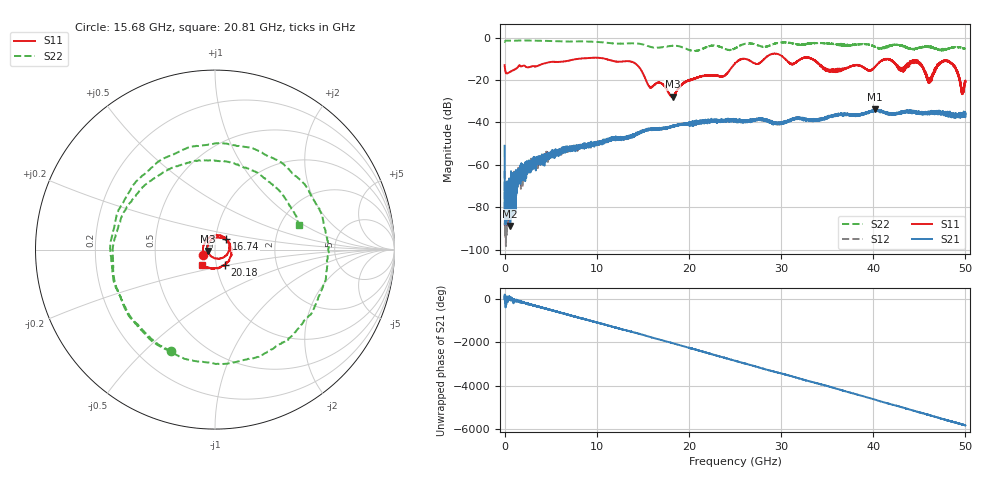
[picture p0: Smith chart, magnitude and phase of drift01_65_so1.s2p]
!Created with skrf (http://scikit-rf.org).
# Hz S RI R 50.0
!freq ReS11 ImS11 ReS21 ImS21 ReS12 ImS12 ReS22 ImS22
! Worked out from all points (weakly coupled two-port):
!   10001 points, 300 kHz to 50 GHz, reference 50 ohm
!   highest |S21| = -33.88 dB at 40.21 GHz (marker M1); lowest = -88.9 dB at 615.3 MHz (marker M2)
!   lowest |S11| = -27.9 dB at 18.26 GHz (marker M3), VSWR 1.08, Z = 46.2 - j0.741 ohm
!   |S11| at or under -10 dB: start of sweep to 8.034 GHz; 10.91 GHz to 25.86 GHz (14.95 GHz wide, 81.3 % of centre); 33.36 GHz to end of sweep (the widest 3 of 13)
!   |S22| runs from -6.4 to -1.4 dB; largest |S21 - S12| = 0.0039
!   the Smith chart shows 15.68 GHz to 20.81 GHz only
!   S11 on the Smith chart (normalised r, x): 15.68 GHz: 0.88, -0.05; 16.74 GHz: 1.12, +0.14; 20.18 GHz: 1.10, -0.19; 20.81 GHz: 0.85, -0.15
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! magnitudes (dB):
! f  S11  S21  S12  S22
! 300 kHz  -13.0  -51.0  -63.1  -2.1
! 255.3 MHz  -16.9  -74.7  -79.4  -1.4
! 615.3 MHz  -16.1  -88.9  -71.3  -1.5
! 3.005 GHz  -13.5  -58.7  -60.4  -1.4
! 8.335 GHz  -9.9  -50.6  -52.1  -1.8
! 13.89 GHz  -11.5  -46.3  -46.8  -2.7
! 15.68 GHz  -23.0  -43.5  -43.1  -4.2
! 16.67 GHz  -21.2  -42.7  -43.1  -4.8
! 16.74 GHz  -21.2  -43.1  -42.8  -4.7
! 18.26 GHz  -27.9  -41.9  -41.6  -3.9
! 20.18 GHz  -20.0  -40.8  -40.9  -6.1
! 20.81 GHz  -18.9  -41.0  -39.9  -6.3
! 25 GHz  -12.2  -39.2  -39.0  -5.0
! 33.34 GHz  -10.1  -39.2  -38.6  -2.7
! 35.14 GHz  -15.8  -37.2  -37.2  -2.7
! 40.21 GHz  -13.8  -33.9  -34.2  -4.3
! 41.67 GHz  -10.1  -35.5  -36.2  -4.2
! 43.08 GHz  -15.4  -35.9  -35.3  -3.8
! 44.81 GHz  -11.1  -35.4  -35.5  -5.0
! 46.1 GHz  -20.4  -35.8  -35.7  -4.4
! 48.04 GHz  -11.3  -35.7  -35.7  -5.1
! 50 GHz  -20.8  -35.9  -36.4  -5.2
